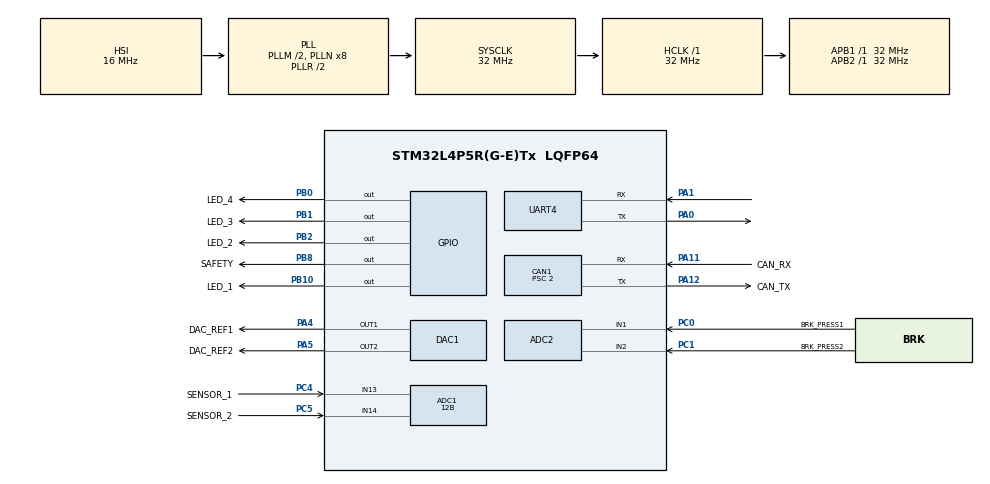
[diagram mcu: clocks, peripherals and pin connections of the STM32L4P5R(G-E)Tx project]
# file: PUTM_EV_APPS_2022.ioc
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ADC1.Channel-1\#ChannelRegularConversion=ADC_CHANNEL_13
ADC1.Channel-2\#ChannelRegularConversion=ADC_CHANNEL_14
ADC1.DMAContinuousRequests=ENABLE
ADC1.ExternalTrigConv=ADC_EXTERNALTRIG_T3_TRGO
ADC1.NbrOfConversion=2
ADC1.NbrOfConversionFlag=1
ADC1.OffsetNumber-1\#ChannelRegularConversion=ADC_OFFSET_NONE
ADC1.OffsetNumber-2\#ChannelRegularConversion=ADC_OFFSET_NONE
ADC1.Rank-1\#ChannelRegularConversion=1
ADC1.Rank-2\#ChannelRegularConversion=2
ADC1.Resolution=ADC_RESOLUTION_12B
ADC1.SamplingTime-1\#ChannelRegularConversion=ADC_SAMPLETIME_2CYCLES_5
ADC1.SamplingTime-2\#ChannelRegularConversion=ADC_SAMPLETIME_2CYCLES_5
ADC1.master=1
ADC2.Channel-0\#ChannelRegularConversion=ADC_CHANNEL_1
ADC2.Channel-1\#ChannelRegularConversion=ADC_CHANNEL_2
ADC2.DMAContinuousRequests=ENABLE
ADC2.ExternalTrigConv=ADC_EXTERNALTRIG_T4_TRGO
ADC2.NbrOfConversion=2
ADC2.NbrOfConversionFlag=1
ADC2.OffsetNumber-0\#ChannelRegularConversion=ADC_OFFSET_NONE
ADC2.OffsetNumber-1\#ChannelRegularConversion=ADC_OFFSET_NONE
ADC2.Rank-0\#ChannelRegularConversion=1
ADC2.Rank-1\#ChannelRegularConversion=2
ADC2.SamplingTime-0\#ChannelRegularConversion=ADC_SAMPLETIME_2CYCLES_5
ADC2.SamplingTime-1\#ChannelRegularConversion=ADC_SAMPLETIME_2CYCLES_5
CAN1.BS1=CAN_BS1_13TQ
CAN1.BS2=CAN_BS2_2TQ
CAN1.CalculateBaudRate=1000000
CAN1.CalculateTimeBit=1000
CAN1.CalculateTimeQuantum=62.5
CAN1.Prescaler=2
DAC1.DAC_Channel-DAC_OUT2=DAC_CHANNEL_2
Dma.ADC1.0.Direction=DMA_PERIPH_TO_MEMORY
Dma.ADC1.0.EventEnable=DISABLE
Dma.ADC1.0.Instance=DMA1_Channel1
Dma.ADC1.0.MemDataAlignment=DMA_MDATAALIGN_HALFWORD
Dma.ADC1.0.MemInc=DMA_MINC_ENABLE
Dma.ADC1.0.Mode=DMA_CIRCULAR
Dma.ADC1.0.PeriphDataAlignment=DMA_PDATAALIGN_HALFWORD
Dma.ADC1.0.PeriphInc=DMA_PINC_DISABLE
Dma.ADC1.0.Polarity=HAL_DMAMUX_REQ_GEN_RISING
Dma.ADC1.0.Priority=DMA_PRIORITY_HIGH
Dma.ADC1.0.RequestNumber=1
Dma.ADC1.0.SignalID=NONE
Dma.ADC1.0.SyncEnable=DISABLE
Dma.ADC1.0.SyncPolarity=HAL_DMAMUX_SYNC_NO_EVENT
Dma.ADC1.0.SyncRequestNumber=1
Dma.ADC1.0.SyncSignalID=NONE
Dma.ADC2.1.Direction=DMA_PERIPH_TO_MEMORY
Dma.ADC2.1.EventEnable=DISABLE
Dma.ADC2.1.Instance=DMA1_Channel2
Dma.ADC2.1.MemDataAlignment=DMA_MDATAALIGN_HALFWORD
Dma.ADC2.1.MemInc=DMA_MINC_ENABLE
Dma.ADC2.1.Mode=DMA_CIRCULAR
Dma.ADC2.1.PeriphDataAlignment=DMA_PDATAALIGN_HALFWORD
Dma.ADC2.1.PeriphInc=DMA_PINC_DISABLE
Dma.ADC2.1.Polarity=HAL_DMAMUX_REQ_GEN_RISING
Dma.ADC2.1.Priority=DMA_PRIORITY_LOW
Dma.ADC2.1.RequestNumber=1
Dma.ADC2.1.SignalID=NONE
Dma.ADC2.1.SyncEnable=DISABLE
Dma.ADC2.1.SyncPolarity=HAL_DMAMUX_SYNC_NO_EVENT
Dma.ADC2.1.SyncRequestNumber=1
Dma.ADC2.1.SyncSignalID=NONE
Dma.Request0=ADC1
Dma.Request1=ADC2
Mcu.Family=STM32L4
Mcu.Name=STM32L4P5R(G-E)Tx
Mcu.Package=LQFP64
NVIC.ADC1_2_IRQn=true\:0\:0\:false\:false\:true\:true\:true\:true
NVIC.CAN1_RX0_IRQn=true\:0\:0\:false\:false\:true\:true\:true\:true
NVIC.CAN1_RX1_IRQn=true\:0\:0\:false\:false\:true\:true\:true\:true
NVIC.DMA1_Channel1_IRQn=true\:0\:0\:false\:false\:true\:false\:true\:true
NVIC.DMA1_Channel2_IRQn=true\:0\:0\:false\:false\:true\:false\:true\:true
NVIC.PriorityGroup=NVIC_PRIORITYGROUP_4
NVIC.TIM2_IRQn=true\:0\:0\:false\:false\:true\:true\:true\:true
NVIC.TIM3_IRQn=true\:0\:0\:false\:false\:true\:true\:true\:true
NVIC.TIM4_IRQn=true\:0\:0\:false\:false\:true\:true\:true\:true
PA0.Mode=Asynchronous
PA0.Signal=UART4_TX
PA1.Mode=Asynchronous
PA1.Signal=UART4_RX
PA11.GPIO_Label=CAN_RX
PA11.Mode=CAN_Activate
PA11.Signal=CAN1_RX
PA12.GPIO_Label=CAN_TX
PA12.Mode=CAN_Activate
PA12.Signal=CAN1_TX
PA13\ (JTMS/SWDIO).Mode=Serial_Wire
PA13\ (JTMS/SWDIO).Signal=SYS_JTMS-SWDIO
PA14\ (JTCK/SWCLK).Mode=Serial_Wire
PA14\ (JTCK/SWCLK).Signal=SYS_JTCK-SWCLK
PA4.GPIO_Label=DAC_REF1
PA4.Signal=COMP_DAC11_group
PA5.GPIO_Label=DAC_REF2
PA5.Signal=COMP_DAC12_group
PB0.GPIO_Label=LED_4
PB0.Signal=GPIO_Output
PB1.GPIO_Label=LED_3
PB1.Signal=GPIO_Output
PB10.GPIO_Label=LED_1
PB10.Signal=GPIO_Output
PB2.GPIO_Label=LED_2
PB2.Signal=GPIO_Output
PB8.GPIO_Label=SAFETY
PB8.Signal=GPIO_Output
PC0.GPIO_Label=BRK_PRESS1
PC0.Signal=ADCx_IN1
PC1.GPIO_Label=BRK_PRESS2
PC1.Signal=ADCx_IN2
PC4.GPIO_Label=SENSOR_1
PC4.Signal=ADCx_IN13
PC5.GPIO_Label=SENSOR_2
PC5.Signal=ADCx_IN14
PH0-OSC_IN\ (PH0).Mode=HSE-External-Oscillator
PH0-OSC_IN\ (PH0).Signal=RCC_OSC_IN
PH1-OSC_OUT\ (PH1).Mode=HSE-External-Oscillator
PH1-OSC_OUT\ (PH1).Signal=RCC_OSC_OUT
ProjectManager.HeapSize=0x200
ProjectManager.StackSize=0x400
ProjectManager.TargetToolchain=STM32CubeIDE
RCC.ADCFreq_Value=32000000
RCC.AHBFreq_Value=32000000
RCC.APB1Freq_Value=32000000
RCC.APB1TimFreq_Value=32000000
RCC.APB2Freq_Value=32000000
RCC.APB2TimFreq_Value=32000000
RCC.CortexFreq_Value=32000000
RCC.HCLKFreq_Value=32000000
RCC.HSE_VALUE=16000000
RCC.HSI48_VALUE=48000000
RCC.HSI_VALUE=16000000
RCC.LSE_VALUE=32768
RCC.MSI_VALUE=4000000
RCC.PLLM1=2
RCC.PLLM2=2
RCC.PLLSourceVirtual=RCC_PLLSOURCE_HSI
RCC.SYSCLKFreq_VALUE=32000000
RCC.SYSCLKSource=RCC_SYSCLKSOURCE_PLLCLK
RCC.USBFreq_Value=32000000
RCC.VCOOutputFreq_Value=64000000
SH.ADCx_IN1.0=ADC2_IN1,IN1-Single-Ended
SH.ADCx_IN13.0=ADC1_IN13,IN13-Single-Ended
SH.ADCx_IN14.0=ADC1_IN14,IN14-Single-Ended
SH.ADCx_IN2.0=ADC2_IN2,IN2-Single-Ended
SH.COMP_DAC11_group.0=DAC1_OUT1,DAC_OUT1
SH.COMP_DAC12_group.0=DAC1_OUT2,DAC_OUT2
TIM2.Period=99
TIM2.Prescaler=3199
TIM2.TIM_MasterOutputTrigger=TIM_TRGO_UPDATE
TIM3.Period=99
TIM3.Prescaler=63
TIM3.TIM_MasterOutputTrigger=TIM_TRGO_UPDATE
TIM4.Period=99
TIM4.Prescaler=63
TIM4.TIM_MasterOutputTrigger=TIM_TRGO_UPDATE
VP_TIM2_VS_ClockSourceINT.Mode=Internal
VP_TIM3_VS_ClockSourceINT.Mode=Internal
VP_TIM4_VS_ClockSourceINT.Mode=Internal
board=custom

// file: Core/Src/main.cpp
/* USER CODE BEGIN Header */
/**
 ******************************************************************************
 * @file           : main.c
 * @brief          : Main program body
 ******************************************************************************
 * @attention
 *
 * <h2><center>&copy; Copyright (c) 2021 STMicroelectronics.
 * All rights reserved.</center></h2>
 *
 * This software component is licensed by ST under BSD 3-Clause license,
 * the "License"; You may not use this file except in compliance with the
 * License. You may obtain a copy of the License at:
 *                        opensource.org/licenses/BSD-3-Clause
 *s
 ******************************************************************************
 */
/* USER CODE END Header */
#include "main.h"

/* USER CODE BEGIN Includes */
#include <stdlib.h>
#include <algorithm>
#include <cstdint>
#include <stdbool.h>
#include <math.h>
#include "Pedal_Map.h"
#include "APPS_Meta.hpp"

#include "PUTM_EV_CAN_LIBRARY/lib/can_interface.hpp"

/* USER CODE END Includes */

/* USER CODE BEGIN PD */
#define huart1 huart4
#define hcan hcan1
/* USER CODE END PD */

ADC_HandleTypeDef hadc1;
ADC_HandleTypeDef hadc2;
DMA_HandleTypeDef hdma_adc1;
DMA_HandleTypeDef hdma_adc2;

CAN_HandleTypeDef hcan1;

DAC_HandleTypeDef hdac1;

TIM_HandleTypeDef htim2;
TIM_HandleTypeDef htim3;
TIM_HandleTypeDef htim4;

UART_HandleTypeDef huart4;

/* USER CODE BEGIN PV */
bool send_CAN_frame;
bool adc_cpl_flag = 0;
using namespace PUTM_CAN;

const std::size_t number_of_apps_sample = 100;
static_assert( number_of_apps_sample%2 == 0,
        "array size must be even because of two sensors" );

uint16_t apps_val_raw[number_of_apps_sample];
uint16_t press_val_raw[number_of_apps_sample];

// FIXME variable to debug
const bool debug_flag = true;
int debug_data[10];
float diff_debug_data;
/* USER CODE END PV */

void SystemClock_Config(void);
void PeriphCommonClock_Config(void);
static void MX_GPIO_Init(void);
static void MX_DMA_Init(void);
static void MX_ADC1_Init(void);
static void MX_CAN1_Init(void);
static void MX_UART4_Init(void);
static void MX_TIM2_Init(void);
static void MX_TIM3_Init(void);
static void MX_DAC1_Init(void);
static void MX_ADC2_Init(void);
static void MX_TIM4_Init(void);
/* USER CODE BEGIN PFP */

void My_CAN_init(void);
std::pair<int, int> get_raw_avg_apps_value();
std::pair<int, int> get_raw_avg_press_value();
bool get_sensors_plausibility(int apps_raw_value_1, int apps_raw_value_2);

/* USER CODE END PFP */

/* USER CODE BEGIN 0 */
void HAL_ADC_ConvCpltCallback(ADC_HandleTypeDef *hadc) {
    adc_cpl_flag = true;
}
/* USER CODE END 0 */

int main(void) {

    /* MCU Configuration--------------------------------------------------------*/

    /* Reset of all peripherals, Initializes the Flash interface and the Systick. */
    HAL_Init();

    /* Configure the system clock */
    SystemClock_Config();

    /* Configure the peripherals common clocks */
    PeriphCommonClock_Config();

    /* Initialize all configured peripherals */
    MX_GPIO_Init();
    MX_DMA_Init();
    MX_ADC1_Init();
    MX_CAN1_Init();
    MX_UART4_Init();
    MX_TIM2_Init();
    MX_TIM3_Init();
    MX_DAC1_Init();
    MX_ADC2_Init();
    MX_TIM4_Init();
    /* USER CODE BEGIN 2 */
    // Setup DAC for the offset voltages
    HAL_DAC_Start(&hdac1, DAC_CHANNEL_1);
    HAL_DAC_Start(&hdac1, DAC_CHANNEL_2);
    HAL_DAC_SetValue(&hdac1, DAC_CHANNEL_1, DAC_ALIGN_12B_R, 2583); // ~2200  mV 2733
    HAL_DAC_SetValue(&hdac1, DAC_CHANNEL_2, DAC_ALIGN_12B_R, 2853); // ~2418 mV 3003

    // Turn on safety
    HAL_GPIO_WritePin(SAFETY_GPIO_Port, SAFETY_Pin, GPIO_PIN_SET);

    My_CAN_init();

    // APPS
    HAL_ADC_Start_DMA(&hadc1, reinterpret_cast<uint32_t*>(apps_val_raw), 100);
    HAL_TIM_Base_Start(&htim3);
    HAL_TIM_Base_Start_IT(&htim2);

    // Brake pressure
    HAL_ADC_Start_DMA(&hadc2, reinterpret_cast<uint32_t*>(press_val_raw), 100);
    HAL_TIM_Base_Start(&htim4);

    HAL_GPIO_WritePin(LED_1_GPIO_Port, LED_1_Pin, GPIO_PIN_SET);
    HAL_GPIO_WritePin(LED_2_GPIO_Port, LED_2_Pin, GPIO_PIN_SET);
    HAL_GPIO_WritePin(LED_3_GPIO_Port, LED_3_Pin, GPIO_PIN_SET);

    HAL_Delay(100);
    uint8_t frame_couter = 0;
    bool sensor_plausibility_last = true;

    uint32_t time_change = 0;
    /* USER CODE END 2 */

    /* Infinite loop */
    /* USER CODE BEGIN WHILE */
    while(1) {
        auto bms_hv = PUTM_CAN::can.get_bms_hv_main();
        bool ts_button = PUTM_CAN::can.get_aq_ts_button_new_data();
        bool no_brake = PUTM_CAN::can.get_aq_main().brake_pressure_front < 3600;

        if(PUTM_CAN::can.get_steering_wheel_event_new_data()) {
            HAL_GPIO_WritePin(SAFETY_GPIO_Port, SAFETY_Pin, GPIO_PIN_SET);
            time_change = HAL_GetTick();
        }

        bool wait_after_start = time_change + 1000 > HAL_GetTick();
        if(bms_hv.device_state == PUTM_CAN::BMS_HV_states::AIR_opened and not wait_after_start) {
            HAL_GPIO_WritePin(SAFETY_GPIO_Port, SAFETY_Pin, GPIO_PIN_RESET);
        }

        if(send_CAN_frame) {
            send_CAN_frame = false;
            adc_cpl_flag = false;

            auto [apps_avg_1, apps_avg_2] = get_raw_avg_apps_value();

            if(bool state = get_sensors_plausibility(apps_avg_1, apps_avg_2); !state && !sensor_plausibility_last) {
                // turn led on
                HAL_GPIO_WritePin(LED_1_GPIO_Port, LED_1_Pin, GPIO_PIN_RESET);

                // turn safety off
                //HAL_GPIO_WritePin(SAFETY_GPIO_Port, SAFETY_Pin, GPIO_PIN_SET);

                // send max value to cause fast stop of CT
                int apps_value_to_send = 0;

                while(true) {
                    // frame counter to make sure that all frames are received
                    frame_couter++;
                    frame_couter %= 100;

                    int8_t sensor_diff_to_send { static_cast<int8_t>(std::clamp(diff_debug_data * 100'0.0f, -120.0f, 120.0f)) };

                    // send data
                    // @formatter:off
                    PUTM_CAN::Apps_main apps_data {
                            .pedal_position = static_cast<uint16_t>(apps_value_to_send),
                            .counter = frame_couter,
                            .position_diff = sensor_diff_to_send,
                            .device_state = PUTM_CAN::Apps_states::Sensor_Implausiblity
                    };
                    // @formatter:on

                    auto tx = PUTM_CAN::Can_tx_message(apps_data, PUTM_CAN::can_tx_header_APPS_MAIN);
                    auto tx_status = tx.send(hcan1);
                    if(HAL_StatusTypeDef::HAL_OK != tx_status) {
                        Error_Handler();
                    }
                    HAL_Delay(100);
                }
            } else {
                sensor_plausibility_last = state;
            }

            // range calculation
            int apps_real_1 = (int)std::round(((float)apps_avg_1 - (float)APPS_1_OFFSETTED_MIN) / scale_factor_1);
            int apps_real_2 = (int)std::round(((float)apps_avg_2 - (float)APPS_2_OFFSETTED_MIN) / scale_factor_2);

            // clamping real values
            int apps_temp_1 = std::clamp(apps_real_1, APPS_REAL_MIN, APPS_REAL_MAX);
            int apps_temp_2 = std::clamp(apps_real_2, APPS_REAL_MIN, APPS_REAL_MAX);

            // get average value of two sensors
            int apps_temp = (apps_temp_1 + apps_temp_2) / 2;

            // non linear curve
            int apps_value_to_send = apps_nonlinear_curve(apps_temp, APPS_map_profile::APPS_MAP_1_linear);

            // frame counter to make sure that all frames are received
            frame_couter++;
            frame_couter %= 100;

            int8_t sensor_diff_to_send { static_cast<int8_t>(std::clamp(diff_debug_data * 100'0.0f, -120.0f, 120.0f)) };

            // send data
            // @formatter:off
            PUTM_CAN::Apps_main apps_data {
                .pedal_position = static_cast<uint16_t>(apps_value_to_send),
                .counter = frame_couter, .position_diff = sensor_diff_to_send,
                .device_state = PUTM_CAN::Apps_states::Normal_operation
            };
            // @formatter:on

            auto tx = PUTM_CAN::Can_tx_message(apps_data, PUTM_CAN::can_tx_header_APPS_MAIN);
            auto tx_status = tx.send(hcan1);
            if(HAL_StatusTypeDef::HAL_OK != tx_status) {
                Error_Handler();
            }

            // Input: 0-3000 Psi (200 Bar)
            // Output: 0.5-4.5 V
            // Formula: pressure (Bars) = 50 * voltage (V) - 25
            auto [press_avg_1, press_avg_2] = get_raw_avg_press_value();
            float pressure_voltage = 3.3 * press_avg_1 / 4096;
            float pressure_voltage2 = 3.3 * press_avg_2 / 4096;
            // @formatter:off
            PUTM_CAN::AQ_main aq {
                .brake_pressure_front = static_cast<uint16_t>((50 * pressure_voltage - 25) * 10),
                .brake_pressure_back = static_cast<uint16_t>((50 * pressure_voltage2 - 25) * 10),
            };
            // @formatter:on
            auto tx_aq = PUTM_CAN::Can_tx_message(aq, PUTM_CAN::can_tx_header_AQ_MAIN);
            if(HAL_StatusTypeDef::HAL_OK not_eq tx_aq.send(hcan1)) {
                Error_Handler();
            }

            // FIXME debug data
            if constexpr (debug_flag) {
                debug_data[0] = apps_avg_1;
                debug_data[1] = apps_avg_2;

                debug_data[2] = apps_real_1;
                debug_data[3] = apps_real_2;

                debug_data[4] = apps_temp_1;
                debug_data[5] = apps_temp_2;

                debug_data[6] = apps_temp;

                debug_data[7] = apps_value_to_send;
            }
        }
        /* USER CODE END WHILE */

    }
}

void SystemClock_Config(void) {
    RCC_OscInitTypeDef RCC_OscInitStruct = { 0 };
    RCC_ClkInitTypeDef RCC_ClkInitStruct = { 0 };

    /** Configure the main internal regulator output voltage
     */
    if(HAL_PWREx_ControlVoltageScaling(PWR_REGULATOR_VOLTAGE_SCALE1) != HAL_OK) {
        Error_Handler();
    }

    /** Initializes the RCC Oscillators according to the specified parameters
     * in the RCC_OscInitTypeDef structure.
     */
    RCC_OscInitStruct.OscillatorType = RCC_OSCILLATORTYPE_HSI;
    RCC_OscInitStruct.HSIState = RCC_HSI_ON;
    RCC_OscInitStruct.HSICalibrationValue = RCC_HSICALIBRATION_DEFAULT;
    RCC_OscInitStruct.PLL.PLLState = RCC_PLL_ON;
    RCC_OscInitStruct.PLL.PLLSource = RCC_PLLSOURCE_HSI;
    RCC_OscInitStruct.PLL.PLLM = 2;
    RCC_OscInitStruct.PLL.PLLN = 8;
    RCC_OscInitStruct.PLL.PLLP = RCC_PLLP_DIV2;
    RCC_OscInitStruct.PLL.PLLQ = RCC_PLLQ_DIV2;
    RCC_OscInitStruct.PLL.PLLR = RCC_PLLR_DIV2;
    if(HAL_RCC_OscConfig(&RCC_OscInitStruct) != HAL_OK) {
        Error_Handler();
    }

    /** Initializes the CPU, AHB and APB buses clocks
     */
    RCC_ClkInitStruct.ClockType = RCC_CLOCKTYPE_HCLK | RCC_CLOCKTYPE_SYSCLK | RCC_CLOCKTYPE_PCLK1 | RCC_CLOCKTYPE_PCLK2;
    RCC_ClkInitStruct.SYSCLKSource = RCC_SYSCLKSOURCE_PLLCLK;
    RCC_ClkInitStruct.AHBCLKDivider = RCC_SYSCLK_DIV1;
    RCC_ClkInitStruct.APB1CLKDivider = RCC_HCLK_DIV1;
    RCC_ClkInitStruct.APB2CLKDivider = RCC_HCLK_DIV1;

    if(HAL_RCC_ClockConfig(&RCC_ClkInitStruct, FLASH_LATENCY_1) != HAL_OK) {
        Error_Handler();
    }
}

void PeriphCommonClock_Config(void) {
    RCC_PeriphCLKInitTypeDef PeriphClkInit = { 0 };

    /** Initializes the peripherals clock
     */
    PeriphClkInit.PeriphClockSelection = RCC_PERIPHCLK_ADC;
    PeriphClkInit.AdcClockSelection = RCC_ADCCLKSOURCE_PLLSAI1;
    PeriphClkInit.PLLSAI1.PLLSAI1Source = RCC_PLLSOURCE_HSI;
    PeriphClkInit.PLLSAI1.PLLSAI1M = 2;
    PeriphClkInit.PLLSAI1.PLLSAI1N = 8;
    PeriphClkInit.PLLSAI1.PLLSAI1P = RCC_PLLP_DIV2;
    PeriphClkInit.PLLSAI1.PLLSAI1Q = RCC_PLLQ_DIV2;
    PeriphClkInit.PLLSAI1.PLLSAI1R = RCC_PLLR_DIV2;
    PeriphClkInit.PLLSAI1.PLLSAI1ClockOut = RCC_PLLSAI1_ADC1CLK;
    if(HAL_RCCEx_PeriphCLKConfig(&PeriphClkInit) != HAL_OK) {
        Error_Handler();
    }
}

static void MX_ADC1_Init(void) {

    ADC_MultiModeTypeDef multimode = { 0 };
    ADC_ChannelConfTypeDef sConfig = { 0 };

    /** Common config
     */
    hadc1.Instance = ADC1;
    hadc1.Init.ClockPrescaler = ADC_CLOCK_ASYNC_DIV1;
    hadc1.Init.Resolution = ADC_RESOLUTION_12B;
    hadc1.Init.DataAlign = ADC_DATAALIGN_RIGHT;
    hadc1.Init.ScanConvMode = ADC_SCAN_ENABLE;
    hadc1.Init.EOCSelection = ADC_EOC_SINGLE_CONV;
    hadc1.Init.LowPowerAutoWait = DISABLE;
    hadc1.Init.ContinuousConvMode = DISABLE;
    hadc1.Init.NbrOfConversion = 2;
    hadc1.Init.DiscontinuousConvMode = DISABLE;
    hadc1.Init.ExternalTrigConv = ADC_EXTERNALTRIG_T3_TRGO;
    hadc1.Init.ExternalTrigConvEdge = ADC_EXTERNALTRIGCONVEDGE_RISING;
    hadc1.Init.DMAContinuousRequests = ENABLE;
    hadc1.Init.Overrun = ADC_OVR_DATA_PRESERVED;
    hadc1.Init.OversamplingMode = DISABLE;
    hadc1.Init.DFSDMConfig = ADC_DFSDM_MODE_ENABLE;
    if(HAL_ADC_Init(&hadc1) != HAL_OK) {
        Error_Handler();
    }

    /** Configure the ADC multi-mode
     */
    multimode.Mode = ADC_MODE_INDEPENDENT;
    if(HAL_ADCEx_MultiModeConfigChannel(&hadc1, &multimode) != HAL_OK) {
        Error_Handler();
    }

    /** Configure Regular Channel
     */
    sConfig.Channel = ADC_CHANNEL_13;
    sConfig.Rank = ADC_REGULAR_RANK_1;
    sConfig.SamplingTime = ADC_SAMPLETIME_2CYCLES_5;
    sConfig.SingleDiff = ADC_SINGLE_ENDED;
    sConfig.OffsetNumber = ADC_OFFSET_NONE;
    sConfig.Offset = 0;
    if(HAL_ADC_ConfigChannel(&hadc1, &sConfig) != HAL_OK) {
        Error_Handler();
    }

    /** Configure Regular Channel
     */
    sConfig.Channel = ADC_CHANNEL_14;
    sConfig.Rank = ADC_REGULAR_RANK_2;
    if(HAL_ADC_ConfigChannel(&hadc1, &sConfig) != HAL_OK) {
        Error_Handler();
    }

}

static void MX_ADC2_Init(void) {

    ADC_ChannelConfTypeDef sConfig = { 0 };

    /** Common config
     */
    hadc2.Instance = ADC2;
    hadc2.Init.ClockPrescaler = ADC_CLOCK_ASYNC_DIV1;
    hadc2.Init.Resolution = ADC_RESOLUTION_12B;
    hadc2.Init.DataAlign = ADC_DATAALIGN_RIGHT;
    hadc2.Init.ScanConvMode = ADC_SCAN_ENABLE;
    hadc2.Init.EOCSelection = ADC_EOC_SINGLE_CONV;
    hadc2.Init.LowPowerAutoWait = DISABLE;
    hadc2.Init.ContinuousConvMode = DISABLE;
    hadc2.Init.NbrOfConversion = 2;
    hadc2.Init.DiscontinuousConvMode = DISABLE;
    hadc2.Init.ExternalTrigConv = ADC_EXTERNALTRIG_T4_TRGO;
    hadc2.Init.ExternalTrigConvEdge = ADC_EXTERNALTRIGCONVEDGE_RISING;
    hadc2.Init.DMAContinuousRequests = ENABLE;
    hadc2.Init.Overrun = ADC_OVR_DATA_PRESERVED;
    hadc2.Init.OversamplingMode = DISABLE;
    hadc2.Init.DFSDMConfig = ADC_DFSDM_MODE_ENABLE;
    if(HAL_ADC_Init(&hadc2) != HAL_OK) {
        Error_Handler();
    }

    /** Configure Regular Channel
     */
    sConfig.Channel = ADC_CHANNEL_1;
    sConfig.Rank = ADC_REGULAR_RANK_1;
    sConfig.SamplingTime = ADC_SAMPLETIME_2CYCLES_5;
    sConfig.SingleDiff = ADC_SINGLE_ENDED;
    sConfig.OffsetNumber = ADC_OFFSET_NONE;
    sConfig.Offset = 0;
    if(HAL_ADC_ConfigChannel(&hadc2, &sConfig) != HAL_OK) {
        Error_Handler();
    }

    /** Configure Regular Channel
     */
    sConfig.Channel = ADC_CHANNEL_2;
    sConfig.Rank = ADC_REGULAR_RANK_2;
    if(HAL_ADC_ConfigChannel(&hadc2, &sConfig) != HAL_OK) {
        Error_Handler();
    }

}

static void MX_CAN1_Init(void) {

    hcan1.Instance = CAN1;
    hcan1.Init.Prescaler = 2;
    hcan1.Init.Mode = CAN_MODE_NORMAL;
    hcan1.Init.SyncJumpWidth = CAN_SJW_1TQ;
    hcan1.Init.TimeSeg1 = CAN_BS1_13TQ;
    hcan1.Init.TimeSeg2 = CAN_BS2_2TQ;
    hcan1.Init.TimeTriggeredMode = DISABLE;
    hcan1.Init.AutoBusOff = DISABLE;
    hcan1.Init.AutoWakeUp = DISABLE;
    hcan1.Init.AutoRetransmission = DISABLE;
    hcan1.Init.ReceiveFifoLocked = DISABLE;
    hcan1.Init.TransmitFifoPriority = DISABLE;
    if(HAL_CAN_Init(&hcan1) != HAL_OK) {
        Error_Handler();
    }

}

static void MX_DAC1_Init(void) {

    DAC_ChannelConfTypeDef sConfig = { 0 };

    /** DAC Initialization
     */
    hdac1.Instance = DAC1;
    if(HAL_DAC_Init(&hdac1) != HAL_OK) {
        Error_Handler();
    }

    /** DAC channel OUT1 config
     */
    sConfig.DAC_SampleAndHold = DAC_SAMPLEANDHOLD_DISABLE;
    sConfig.DAC_Trigger = DAC_TRIGGER_NONE;
    sConfig.DAC_OutputBuffer = DAC_OUTPUTBUFFER_ENABLE;
    sConfig.DAC_ConnectOnChipPeripheral = DAC_CHIPCONNECT_DISABLE;
    sConfig.DAC_UserTrimming = DAC_TRIMMING_FACTORY;
    if(HAL_DAC_ConfigChannel(&hdac1, &sConfig, DAC_CHANNEL_1) != HAL_OK) {
        Error_Handler();
    }

    /** DAC channel OUT2 config
     */
    if(HAL_DAC_ConfigChannel(&hdac1, &sConfig, DAC_CHANNEL_2) != HAL_OK) {
        Error_Handler();
    }

}

static void MX_TIM2_Init(void) {

    TIM_ClockConfigTypeDef sClockSourceConfig = { 0 };
    TIM_MasterConfigTypeDef sMasterConfig = { 0 };

    htim2.Instance = TIM2;
    htim2.Init.Prescaler = 3199;
    htim2.Init.CounterMode = TIM_COUNTERMODE_UP;
    htim2.Init.Period = 99;
    htim2.Init.ClockDivision = TIM_CLOCKDIVISION_DIV1;
    htim2.Init.AutoReloadPreload = TIM_AUTORELOAD_PRELOAD_DISABLE;
    if(HAL_TIM_Base_Init(&htim2) != HAL_OK) {
        Error_Handler();
    }
    sClockSourceConfig.ClockSource = TIM_CLOCKSOURCE_INTERNAL;
    if(HAL_TIM_ConfigClockSource(&htim2, &sClockSourceConfig) != HAL_OK) {
        Error_Handler();
    }
    sMasterConfig.MasterOutputTrigger = TIM_TRGO_UPDATE;
    sMasterConfig.MasterSlaveMode = TIM_MASTERSLAVEMODE_DISABLE;
    if(HAL_TIMEx_MasterConfigSynchronization(&htim2, &sMasterConfig) != HAL_OK) {
        Error_Handler();
    }

}

static void MX_TIM3_Init(void) {

    TIM_ClockConfigTypeDef sClockSourceConfig = { 0 };
    TIM_MasterConfigTypeDef sMasterConfig = { 0 };

    htim3.Instance = TIM3;
    htim3.Init.Prescaler = 63;
    htim3.Init.CounterMode = TIM_COUNTERMODE_UP;
    htim3.Init.Period = 99;
    htim3.Init.ClockDivision = TIM_CLOCKDIVISION_DIV1;
    htim3.Init.AutoReloadPreload = TIM_AUTORELOAD_PRELOAD_DISABLE;
    if(HAL_TIM_Base_Init(&htim3) != HAL_OK) {
        Error_Handler();
    }
    sClockSourceConfig.ClockSource = TIM_CLOCKSOURCE_INTERNAL;
    if(HAL_TIM_ConfigClockSource(&htim3, &sClockSourceConfig) != HAL_OK) {
        Error_Handler();
    }
    sMasterConfig.MasterOutputTrigger = TIM_TRGO_UPDATE;
    sMasterConfig.MasterSlaveMode = TIM_MASTERSLAVEMODE_DISABLE;
    if(HAL_TIMEx_MasterConfigSynchronization(&htim3, &sMasterConfig) != HAL_OK) {
        Error_Handler();
    }

}

static void MX_TIM4_Init(void) {

    TIM_ClockConfigTypeDef sClockSourceConfig = { 0 };
    TIM_MasterConfigTypeDef sMasterConfig = { 0 };

    htim4.Instance = TIM4;
    htim4.Init.Prescaler = 63;
    htim4.Init.CounterMode = TIM_COUNTERMODE_UP;
    htim4.Init.Period = 99;
    htim4.Init.ClockDivision = TIM_CLOCKDIVISION_DIV1;
    htim4.Init.AutoReloadPreload = TIM_AUTORELOAD_PRELOAD_DISABLE;
    if(HAL_TIM_Base_Init(&htim4) != HAL_OK) {
        Error_Handler();
    }
    sClockSourceConfig.ClockSource = TIM_CLOCKSOURCE_INTERNAL;
    if(HAL_TIM_ConfigClockSource(&htim4, &sClockSourceConfig) != HAL_OK) {
        Error_Handler();
    }
    sMasterConfig.MasterOutputTrigger = TIM_TRGO_UPDATE;
    sMasterConfig.MasterSlaveMode = TIM_MASTERSLAVEMODE_DISABLE;
    if(HAL_TIMEx_MasterConfigSynchronization(&htim4, &sMasterConfig) != HAL_OK) {
        Error_Handler();
    }

}

static void MX_UART4_Init(void) {

    huart4.Instance = UART4;
    huart4.Init.BaudRate = 115200;
    huart4.Init.WordLength = UART_WORDLENGTH_8B;
    huart4.Init.StopBits = UART_STOPBITS_1;
    huart4.Init.Parity = UART_PARITY_NONE;
    huart4.Init.Mode = UART_MODE_TX_RX;
    huart4.Init.HwFlowCtl = UART_HWCONTROL_NONE;
    huart4.Init.OverSampling = UART_OVERSAMPLING_16;
    huart4.Init.OneBitSampling = UART_ONE_BIT_SAMPLE_DISABLE;
    huart4.Init.ClockPrescaler = UART_PRESCALER_DIV1;
    huart4.AdvancedInit.AdvFeatureInit = UART_ADVFEATURE_NO_INIT;
    if(HAL_UART_Init(&huart4) != HAL_OK) {
        Error_Handler();
    }
    if(HAL_UARTEx_SetTxFifoThreshold(&huart4, UART_TXFIFO_THRESHOLD_1_8) != HAL_OK) {
        Error_Handler();
    }
    if(HAL_UARTEx_SetRxFifoThreshold(&huart4, UART_RXFIFO_THRESHOLD_1_8) != HAL_OK) {
        Error_Handler();
    }
    if(HAL_UARTEx_DisableFifoMode(&huart4) != HAL_OK) {
        Error_Handler();
    }

}

static void MX_DMA_Init(void) {

    /* DMA controller clock enable */
    __HAL_RCC_DMAMUX1_CLK_ENABLE();
    __HAL_RCC_DMA1_CLK_ENABLE();

    /* DMA interrupt init */
    /* DMA1_Channel1_IRQn interrupt configuration */
    HAL_NVIC_SetPriority(DMA1_Channel1_IRQn, 0, 0);
    HAL_NVIC_EnableIRQ(DMA1_Channel1_IRQn);
    /* DMA1_Channel2_IRQn interrupt configuration */
    HAL_NVIC_SetPriority(DMA1_Channel2_IRQn, 0, 0);
    HAL_NVIC_EnableIRQ(DMA1_Channel2_IRQn);

}

static void MX_GPIO_Init(void) {
    GPIO_InitTypeDef GPIO_InitStruct = { 0 };

    /* GPIO Ports Clock Enable */
    __HAL_RCC_GPIOH_CLK_ENABLE();
    __HAL_RCC_GPIOC_CLK_ENABLE();
    __HAL_RCC_GPIOA_CLK_ENABLE();
    __HAL_RCC_GPIOB_CLK_ENABLE();

    /*Configure GPIO pin Output Level */
    HAL_GPIO_WritePin(GPIOB, LED_4_Pin | LED_3_Pin | LED_2_Pin | LED_1_Pin | SAFETY_Pin, GPIO_PIN_RESET);

    /*Configure GPIO pins : LED_4_Pin LED_3_Pin LED_2_Pin LED_1_Pin
     SAFETY_Pin */
    GPIO_InitStruct.Pin = LED_4_Pin | LED_3_Pin | LED_2_Pin | LED_1_Pin | SAFETY_Pin;
    GPIO_InitStruct.Mode = GPIO_MODE_OUTPUT_PP;
    GPIO_InitStruct.Pull = GPIO_NOPULL;
    GPIO_InitStruct.Speed = GPIO_SPEED_FREQ_LOW;
    HAL_GPIO_Init(GPIOB, &GPIO_InitStruct);

}

/* USER CODE BEGIN 4 */
void My_CAN_init(void) {
constexpr static CAN_FilterTypeDef sFilterConfig {
    .FilterIdHigh = 0x0000,
    .FilterIdLow = 0x0000,
    .FilterMaskIdHigh = 0x0000,
    .FilterMaskIdLow = 0x0000,
    .FilterFIFOAssignment = CAN_RX_FIFO0,
    .FilterBank = 0,
    .FilterMode = CAN_FILTERMODE_IDMASK,
    .FilterScale = CAN_FILTERSCALE_32BIT,
    .FilterActivation = ENABLE,
    .SlaveStartFilterBank = 14
}
;

if (HAL_CAN_ConfigFilter(&hcan, &sFilterConfig) != HAL_OK) {
    Error_Handler();
}

if (HAL_CAN_Start(&hcan) != HAL_OK) {
    Error_Handler();
}

if (HAL_CAN_ActivateNotification(&hcan, CAN_IT_RX_FIFO0_MSG_PENDING | CAN_IT_TX_MAILBOX_EMPTY) != HAL_OK) {
    Error_Handler();
}
}

std::pair<int, int> get_raw_avg_apps_value() {
float apps_temp_raw_sum_1 = 0;
float apps_temp_raw_sum_2 = 0;

for(unsigned int i = 0; i < number_of_apps_sample; i = i + 2) {
    apps_temp_raw_sum_1 += apps_val_raw[i];
    apps_temp_raw_sum_2 += apps_val_raw[i + 1];
}

int apps_temp_raw_avg_1 = (int)(apps_temp_raw_sum_1 / ((float)number_of_apps_sample / 2.0f));
int apps_temp_raw_avg_2 = (int)(apps_temp_raw_sum_2 / ((float)number_of_apps_sample / 2.0f));

return std::make_pair(apps_temp_raw_avg_1, apps_temp_raw_avg_2);
}

std::pair<int, int> get_raw_avg_press_value() {
float press_temp_raw_sum_1 = 0;
float press_temp_raw_sum_2 = 0;

for(unsigned int i = 0; i < number_of_apps_sample; i = i + 2) {
    press_temp_raw_sum_1 += press_val_raw[i];
    press_temp_raw_sum_2 += press_val_raw[i + 1];
}

int press_temp_raw_avg_1 = (int)(press_temp_raw_sum_1 / ((float)number_of_apps_sample / 2.0f));
int press_temp_raw_avg_2 = (int)(press_temp_raw_sum_2 / ((float)number_of_apps_sample / 2.0f));

return std::make_pair(press_temp_raw_avg_1, press_temp_raw_avg_2);
}

bool get_sensors_plausibility(int apps_raw_value_1, int apps_raw_value_2) {

/* T 11.8.9 Implausibility is defined as a deviation of more than ten percentage points pedal travel
 between any of the used APPSs or any failure according to T 11.9.
 */

// fraction of full scale position
float apps_scaled_1 = ((float)apps_raw_value_1 - (float)APPS_1_OFFSETTED_MIN) / (float)APPS_1_RAW_FULLSCALE;
float apps_scaled_2 = ((float)apps_raw_value_2 - (float)APPS_2_OFFSETTED_MIN) / (float)APPS_2_RAW_FULLSCALE;

float diff = fabsf(apps_scaled_1 - apps_scaled_2);

debug_data[9] = static_cast<int>(diff * 100);
diff_debug_data = diff;

if(diff > sensor_implausibility_factor) {
    return false;
} else {
    return true;
}

}

/* USER CODE END 4 */

void Error_Handler(void) {
__disable_irq();
while(1) {
}
}
